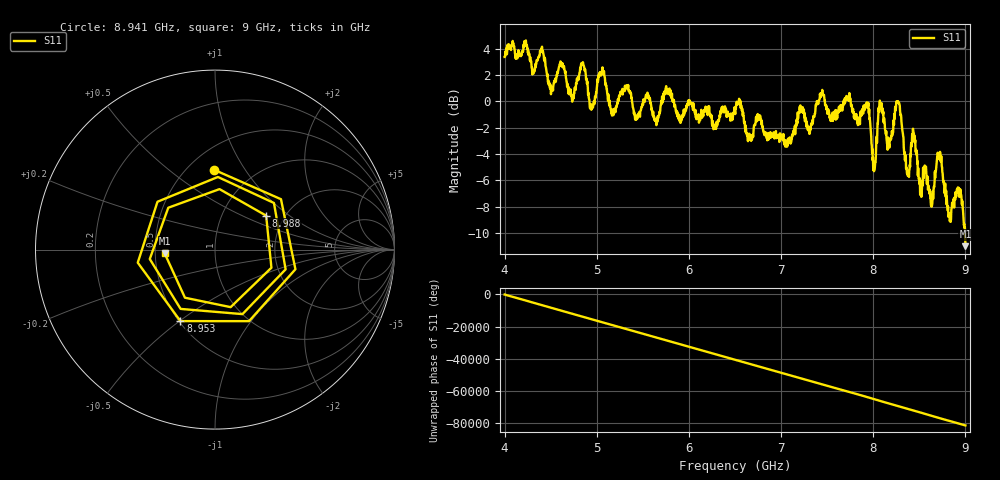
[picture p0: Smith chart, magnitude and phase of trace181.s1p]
! Created with skrf 1.8.0 (http://scikit-rf.org).
# Hz S RI R 50.0
!freq ReS11 ImS11
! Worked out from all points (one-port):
!   1601 points, 4 GHz to 9 GHz, reference 50 ohm
!   lowest |S11| = -11.0 dB at 9 GHz (marker M1), VSWR 1.78, Z = 28.1 - j1.27 ohm
!   |S11| at or under -10 dB: 8.99697 GHz to end of sweep
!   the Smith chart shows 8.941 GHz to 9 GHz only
!   S11 on the Smith chart (normalised r, x): 8.941 GHz: 0.66, +0.73; 8.953 GHz: 0.51, -0.50; 8.988 GHz: 1.61, +0.69; 9 GHz: 0.56, -0.03
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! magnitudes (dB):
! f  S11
! 4 GHz  3.4
! 4.406 GHz  4.2
! 4.503 GHz  0.5
! 4.625 GHz  2.6
! 4.728 GHz  0.4
! 4.853 GHz  2.8
! 4.947 GHz  -0.5
! 5.053 GHz  2.0
! 5.166 GHz  -1.1
! 5.25 GHz  0.4
! 5.875 GHz  -1.2
! 6.5 GHz  -0.8
! 7.125 GHz  -2.5
! 7.75 GHz  0.2
! 7.938 GHz  -0.5
! 8.006 GHz  -5.2
! 8.078 GHz  -0.3
! 8.169 GHz  -3.4
! 8.269 GHz  0.0
! 8.375 GHz  -5.7
! 8.434 GHz  -2.3
! 8.628 GHz  -8.0
! 8.716 GHz  -4.2
! 8.825 GHz  -8.6
! 8.941 GHz  -7.0
! 8.953 GHz  -7.1
! 8.988 GHz  -9.3
! 9 GHz  -11.0
